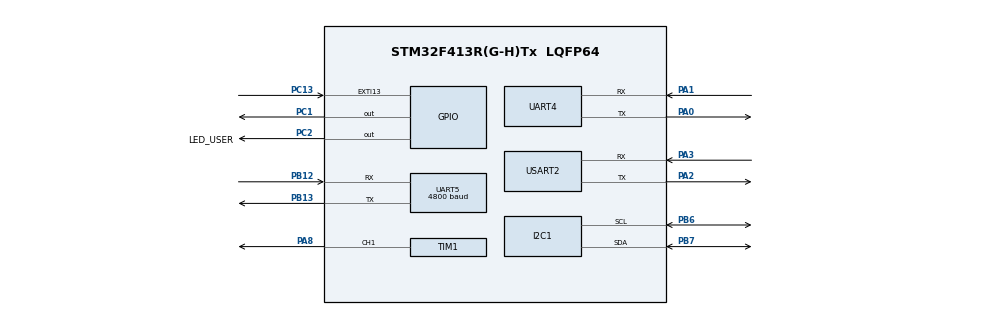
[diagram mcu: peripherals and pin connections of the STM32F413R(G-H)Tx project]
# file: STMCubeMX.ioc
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FREERTOS.Tasks01=defaultTask,24,512,StartDefaultTask,Default,NULL,Dynamic,NULL,NULL
FREERTOS.configMINIMAL_STACK_SIZE=512
Mcu.Family=STM32F4
Mcu.Name=STM32F413R(G-H)Tx
Mcu.Package=LQFP64
NVIC.PriorityGroup=NVIC_PRIORITYGROUP_4
NVIC.USART2_IRQn=true\:5\:0\:false\:false\:true\:true\:true\:true\:true
PA0.Mode=Asynchronous
PA0.Signal=UART4_TX
PA1.Mode=Asynchronous
PA1.Signal=UART4_RX
PA13.Mode=Trace_Asynchronous_SW
PA13.Signal=SYS_JTMS-SWDIO
PA14.Mode=Trace_Asynchronous_SW
PA14.Signal=SYS_JTCK-SWCLK
PA2.Mode=Asynchronous
PA2.Signal=USART2_TX
PA3.Mode=Asynchronous
PA3.Signal=USART2_RX
PA8.Signal=S_TIM1_CH1
PB12.Mode=Asynchronous
PB12.Signal=UART5_RX
PB13.Mode=Asynchronous
PB13.Signal=UART5_TX
PB3.Mode=Trace_Asynchronous_SW
PB3.Signal=SYS_JTDO-SWO
PB6.Mode=I2C
PB6.Signal=I2C1_SCL
PB7.Mode=I2C
PB7.Signal=I2C1_SDA
PC1.Signal=GPIO_Output
PC13.Signal=GPXTI13
PC2.GPIO_Label=LED_USER
PC2.Signal=GPIO_Output
PH0\ -\ OSC_IN.Mode=HSE-External-Oscillator
PH0\ -\ OSC_IN.Signal=RCC_OSC_IN
PH1\ -\ OSC_OUT.Mode=HSE-External-Oscillator
PH1\ -\ OSC_OUT.Signal=RCC_OSC_OUT
ProjectManager.HeapSize=0x200
ProjectManager.StackSize=0x400
ProjectManager.TargetToolchain=STM32CubeIDE
RCC.CortexFreq_Value=16000000
RCC.HSE_VALUE=18432000
RCC.PLLM=12
RCC.PLLN=125
RCC.PLLQ=4
RCC.PLLSourceVirtual=RCC_PLLSOURCE_HSE
RCC.USBFreq_Value=48000000
RCC.VCOOutputFreq_Value=192000000
SH.S_TIM1_CH1.0=TIM1_CH1,PWM Generation1 CH1
TIM1.Channel-PWM\ Generation1\ CH1=TIM_CHANNEL_1
UART4.VirtualMode=Asynchronous
UART5.BaudRate=4800
UART5.VirtualMode=Asynchronous
USART2.VirtualMode=VM_ASYNC
VP_FREERTOS_VS_CMSIS_V2.Mode=CMSIS_V2
VP_TIM1_VS_ClockSourceINT.Mode=Internal
board=custom

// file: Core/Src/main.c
/* USER CODE BEGIN Header */
/**
  ******************************************************************************
  * @file           : main.c
  * @brief          : Main program body
  ******************************************************************************
  * @attention
  *
  * Copyright (c) 2026 STMicroelectronics.
  * All rights reserved.
  *
  * This software is licensed under terms that can be found in the LICENSE file
  * in the root directory of this software component.
  * If no LICENSE file comes with this software, it is provided AS-IS.
  *
  ******************************************************************************
  */
/* USER CODE END Header */
#include "main.h"
#include "cmsis_os.h"

/* USER CODE BEGIN Includes */
#include <stdio.h>
/* USER CODE END Includes */

/* USER CODE BEGIN PD */
#define LOG_UART huart2
/* USER CODE END PD */

I2C_HandleTypeDef hi2c1;

TIM_HandleTypeDef htim1;

UART_HandleTypeDef huart4;
UART_HandleTypeDef huart5;
UART_HandleTypeDef huart2;

/* Definitions for defaultTask */
osThreadId_t defaultTaskHandle;
const osThreadAttr_t defaultTask_attributes = {
  .name = "defaultTask",
  .stack_size = 512 * 4,
  .priority = (osPriority_t) osPriorityNormal,
};

/* USER CODE BEGIN PV */
static uint8_t rx_byte;
static osMessageQueueId_t rxQueue;
/* USER CODE END PV */

void SystemClock_Config(void);
static void MX_GPIO_Init(void);
static void MX_I2C1_Init(void);
static void MX_UART4_Init(void);
static void MX_TIM1_Init(void);
static void MX_UART5_Init(void);
static void MX_USART2_UART_Init(void);
void StartDefaultTask(void *argument);

int main(void)
{

  /* MCU Configuration--------------------------------------------------------*/

  /* Reset of all peripherals, Initializes the Flash interface and the Systick. */
  HAL_Init();

  /* Configure the system clock */
  SystemClock_Config();

  /* Initialize all configured peripherals */
  MX_GPIO_Init();
  MX_I2C1_Init();
  MX_UART4_Init();
  MX_TIM1_Init();
  MX_UART5_Init();
  MX_USART2_UART_Init();

  /* USER CODE BEGIN 2 */
  setvbuf(stdout, NULL, _IONBF, 0);
  /* USER CODE END 2 */

  /* Init scheduler */
  osKernelInitialize();

  /* USER CODE BEGIN RTOS_QUEUES */
  rxQueue = osMessageQueueNew(64, sizeof(uint8_t), NULL);
  /* USER CODE END RTOS_QUEUES */

  /* Create the thread(s) */
  /* creation of defaultTask */
  defaultTaskHandle = osThreadNew(StartDefaultTask, NULL, &defaultTask_attributes);

  /* Start scheduler */
  osKernelStart();

  /* We should never get here as control is now taken by the scheduler */

  /* Infinite loop */
  while (1)
  {

  }
}

void SystemClock_Config(void)
{
  RCC_OscInitTypeDef RCC_OscInitStruct = {0};
  RCC_ClkInitTypeDef RCC_ClkInitStruct = {0};

  /** Configure the main internal regulator output voltage
  */
  __HAL_RCC_PWR_CLK_ENABLE();
  __HAL_PWR_VOLTAGESCALING_CONFIG(PWR_REGULATOR_VOLTAGE_SCALE1);

  /** Initializes the RCC Oscillators according to the specified parameters
  * in the RCC_OscInitTypeDef structure.
  */
  RCC_OscInitStruct.OscillatorType = RCC_OSCILLATORTYPE_HSI;
  RCC_OscInitStruct.HSIState = RCC_HSI_ON;
  RCC_OscInitStruct.HSICalibrationValue = RCC_HSICALIBRATION_DEFAULT;
  RCC_OscInitStruct.PLL.PLLState = RCC_PLL_NONE;
  if (HAL_RCC_OscConfig(&RCC_OscInitStruct) != HAL_OK)
  {
    Error_Handler();
  }

  /** Initializes the CPU, AHB and APB buses clocks
  */
  RCC_ClkInitStruct.ClockType = RCC_CLOCKTYPE_HCLK|RCC_CLOCKTYPE_SYSCLK
                              |RCC_CLOCKTYPE_PCLK1|RCC_CLOCKTYPE_PCLK2;
  RCC_ClkInitStruct.SYSCLKSource = RCC_SYSCLKSOURCE_HSI;
  RCC_ClkInitStruct.AHBCLKDivider = RCC_SYSCLK_DIV1;
  RCC_ClkInitStruct.APB1CLKDivider = RCC_HCLK_DIV1;
  RCC_ClkInitStruct.APB2CLKDivider = RCC_HCLK_DIV1;

  if (HAL_RCC_ClockConfig(&RCC_ClkInitStruct, FLASH_LATENCY_0) != HAL_OK)
  {
    Error_Handler();
  }
}

static void MX_I2C1_Init(void)
{

  hi2c1.Instance = I2C1;
  hi2c1.Init.ClockSpeed = 100000;
  hi2c1.Init.DutyCycle = I2C_DUTYCYCLE_2;
  hi2c1.Init.OwnAddress1 = 0;
  hi2c1.Init.AddressingMode = I2C_ADDRESSINGMODE_7BIT;
  hi2c1.Init.DualAddressMode = I2C_DUALADDRESS_DISABLE;
  hi2c1.Init.OwnAddress2 = 0;
  hi2c1.Init.GeneralCallMode = I2C_GENERALCALL_DISABLE;
  hi2c1.Init.NoStretchMode = I2C_NOSTRETCH_DISABLE;
  if (HAL_I2C_Init(&hi2c1) != HAL_OK)
  {
    Error_Handler();
  }

}

static void MX_TIM1_Init(void)
{

  TIM_ClockConfigTypeDef sClockSourceConfig = {0};
  TIM_MasterConfigTypeDef sMasterConfig = {0};
  TIM_OC_InitTypeDef sConfigOC = {0};
  TIM_BreakDeadTimeConfigTypeDef sBreakDeadTimeConfig = {0};

  htim1.Instance = TIM1;
  htim1.Init.Prescaler = 0;
  htim1.Init.CounterMode = TIM_COUNTERMODE_UP;
  htim1.Init.Period = 65535;
  htim1.Init.ClockDivision = TIM_CLOCKDIVISION_DIV1;
  htim1.Init.RepetitionCounter = 0;
  htim1.Init.AutoReloadPreload = TIM_AUTORELOAD_PRELOAD_DISABLE;
  if (HAL_TIM_Base_Init(&htim1) != HAL_OK)
  {
    Error_Handler();
  }
  sClockSourceConfig.ClockSource = TIM_CLOCKSOURCE_INTERNAL;
  if (HAL_TIM_ConfigClockSource(&htim1, &sClockSourceConfig) != HAL_OK)
  {
    Error_Handler();
  }
  if (HAL_TIM_PWM_Init(&htim1) != HAL_OK)
  {
    Error_Handler();
  }
  sMasterConfig.MasterOutputTrigger = TIM_TRGO_RESET;
  sMasterConfig.MasterSlaveMode = TIM_MASTERSLAVEMODE_DISABLE;
  if (HAL_TIMEx_MasterConfigSynchronization(&htim1, &sMasterConfig) != HAL_OK)
  {
    Error_Handler();
  }
  sConfigOC.OCMode = TIM_OCMODE_PWM1;
  sConfigOC.Pulse = 0;
  sConfigOC.OCPolarity = TIM_OCPOLARITY_HIGH;
  sConfigOC.OCNPolarity = TIM_OCNPOLARITY_HIGH;
  sConfigOC.OCFastMode = TIM_OCFAST_DISABLE;
  sConfigOC.OCIdleState = TIM_OCIDLESTATE_RESET;
  sConfigOC.OCNIdleState = TIM_OCNIDLESTATE_RESET;
  if (HAL_TIM_PWM_ConfigChannel(&htim1, &sConfigOC, TIM_CHANNEL_1) != HAL_OK)
  {
    Error_Handler();
  }
  sBreakDeadTimeConfig.OffStateRunMode = TIM_OSSR_DISABLE;
  sBreakDeadTimeConfig.OffStateIDLEMode = TIM_OSSI_DISABLE;
  sBreakDeadTimeConfig.LockLevel = TIM_LOCKLEVEL_OFF;
  sBreakDeadTimeConfig.DeadTime = 0;
  sBreakDeadTimeConfig.BreakState = TIM_BREAK_DISABLE;
  sBreakDeadTimeConfig.BreakPolarity = TIM_BREAKPOLARITY_HIGH;
  sBreakDeadTimeConfig.AutomaticOutput = TIM_AUTOMATICOUTPUT_DISABLE;
  if (HAL_TIMEx_ConfigBreakDeadTime(&htim1, &sBreakDeadTimeConfig) != HAL_OK)
  {
    Error_Handler();
  }
  HAL_TIM_MspPostInit(&htim1);

}

static void MX_UART4_Init(void)
{

  huart4.Instance = UART4;
  huart4.Init.BaudRate = 115200;
  huart4.Init.WordLength = UART_WORDLENGTH_8B;
  huart4.Init.StopBits = UART_STOPBITS_1;
  huart4.Init.Parity = UART_PARITY_NONE;
  huart4.Init.Mode = UART_MODE_TX_RX;
  huart4.Init.HwFlowCtl = UART_HWCONTROL_NONE;
  huart4.Init.OverSampling = UART_OVERSAMPLING_16;
  if (HAL_UART_Init(&huart4) != HAL_OK)
  {
    Error_Handler();
  }

}

static void MX_UART5_Init(void)
{

  huart5.Instance = UART5;
  huart5.Init.BaudRate = 4800;
  huart5.Init.WordLength = UART_WORDLENGTH_8B;
  huart5.Init.StopBits = UART_STOPBITS_1;
  huart5.Init.Parity = UART_PARITY_NONE;
  huart5.Init.Mode = UART_MODE_TX_RX;
  huart5.Init.HwFlowCtl = UART_HWCONTROL_NONE;
  huart5.Init.OverSampling = UART_OVERSAMPLING_16;
  if (HAL_UART_Init(&huart5) != HAL_OK)
  {
    Error_Handler();
  }

}

static void MX_USART2_UART_Init(void)
{

  huart2.Instance = USART2;
  huart2.Init.BaudRate = 115200;
  huart2.Init.WordLength = UART_WORDLENGTH_8B;
  huart2.Init.StopBits = UART_STOPBITS_1;
  huart2.Init.Parity = UART_PARITY_NONE;
  huart2.Init.Mode = UART_MODE_TX_RX;
  huart2.Init.HwFlowCtl = UART_HWCONTROL_NONE;
  huart2.Init.OverSampling = UART_OVERSAMPLING_16;
  if (HAL_UART_Init(&huart2) != HAL_OK)
  {
    Error_Handler();
  }

}

static void MX_GPIO_Init(void)
{
  GPIO_InitTypeDef GPIO_InitStruct = {0};

  /* GPIO Ports Clock Enable */
  __HAL_RCC_GPIOC_CLK_ENABLE();
  __HAL_RCC_GPIOH_CLK_ENABLE();
  __HAL_RCC_GPIOA_CLK_ENABLE();
  __HAL_RCC_GPIOB_CLK_ENABLE();

  /*Configure GPIO pin Output Level */
  HAL_GPIO_WritePin(GPIOC, GPIO_PIN_1|LED_USER_Pin, GPIO_PIN_RESET);

  /*Configure GPIO pin : PC13 */
  GPIO_InitStruct.Pin = GPIO_PIN_13;
  GPIO_InitStruct.Mode = GPIO_MODE_IT_RISING;
  GPIO_InitStruct.Pull = GPIO_NOPULL;
  HAL_GPIO_Init(GPIOC, &GPIO_InitStruct);

  /*Configure GPIO pins : PC1 LED_USER_Pin */
  GPIO_InitStruct.Pin = GPIO_PIN_1|LED_USER_Pin;
  GPIO_InitStruct.Mode = GPIO_MODE_OUTPUT_PP;
  GPIO_InitStruct.Pull = GPIO_NOPULL;
  GPIO_InitStruct.Speed = GPIO_SPEED_FREQ_LOW;
  HAL_GPIO_Init(GPIOC, &GPIO_InitStruct);

}

/* USER CODE BEGIN 4 */
int _write(int fd, char *ptr, int len)          // redirige printf vers l'UART
{
  HAL_UART_Transmit(&LOG_UART, (uint8_t *)ptr, len, HAL_MAX_DELAY);
  return len;
}

void HAL_UART_RxCpltCallback(UART_HandleTypeDef *huart)   // appelée à chaque octet reçu
{
  if (huart == &LOG_UART)
  {
    osMessageQueuePut(rxQueue, &rx_byte, 0, 0);
    HAL_UART_Receive_IT(&LOG_UART, &rx_byte, 1);   // réarme la réception
  }
}
/* USER CODE END 4 */

void StartDefaultTask(void *argument)
{
  /* USER CODE BEGIN 5 */
	 char line[64];
	  uint8_t idx = 0, c;

	  HAL_UART_Receive_IT(&LOG_UART, &rx_byte, 1);
	  printf("Nucleo prete\r\n");

	  for(;;)
	  {
	    if (osMessageQueueGet(rxQueue, &c, NULL, osWaitForever) == osOK)
	    {
	      if (c == '\r' || c == '\n')
	      {
	        if (idx > 0)
	        {
	          line[idx] = '\0';
	          printf("Recu : %s\r\n", line);   // renvoie la ligne au PC
	          idx = 0;
	        }
	      }
	      else if (idx < sizeof(line) - 1)
	      {
	        line[idx++] = c;
	      }
	    }
	  }
  /* USER CODE END 5 */
}

void Error_Handler(void)
{
  __disable_irq();
  while (1)
  {
  }
}
